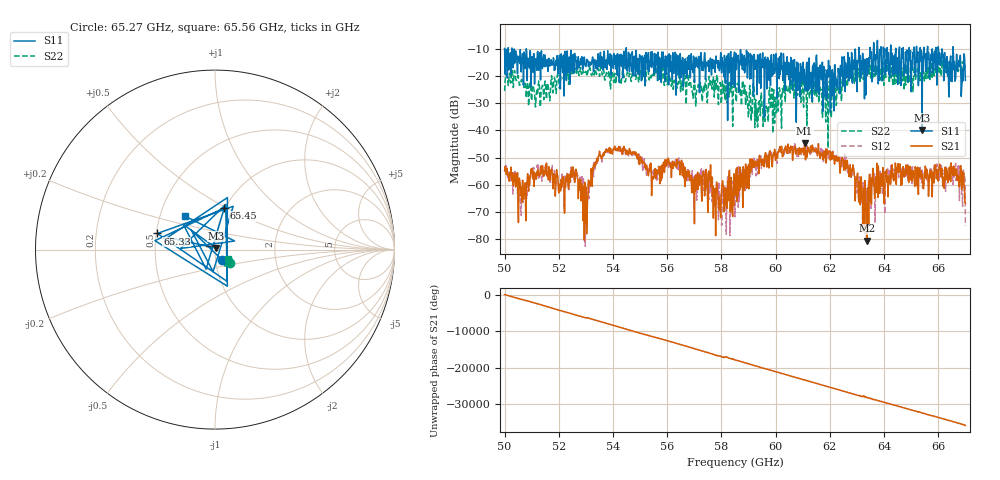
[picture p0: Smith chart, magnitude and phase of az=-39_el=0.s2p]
!Created with skrf (http://scikit-rf.org).
# GHz S RI R 50.0
!freq ReS11 ImS11 ReS21 ImS21 ReS12 ImS12 ReS22 ImS22
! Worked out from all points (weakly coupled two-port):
!   1001 points, 50 GHz to 67 GHz, reference 50 ohm
!   highest |S21| = -44.67 dB at 61.07 GHz (marker M1); lowest = -80.6 dB at 63.36 GHz (marker M2)
!   lowest |S11| = -39.8 dB at 65.4 GHz (marker M3), VSWR 1.02, Z = 50.5 + j0.883 ohm
!   |S11| at or under -10 dB: 50.27 GHz to 50.8 GHz (526 MHz wide, 1.04 % of centre); 50.8 GHz to 54.49 GHz (3.687 GHz wide, 7 % of centre); 54.49 GHz to 63.07 GHz (8.582 GHz wide, 14.6 % of centre) (the widest 3 of 29)
!   |S22| runs from -46.5 to -14.0 dB; largest |S21 - S12| = 0.0023
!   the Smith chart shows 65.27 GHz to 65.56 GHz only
!   S11 on the Smith chart (normalised r, x): 65.27 GHz: 1.07, -0.12; 65.33 GHz: 0.51, +0.10; 65.45 GHz: 0.99, +0.49; 65.56 GHz: 0.67, +0.27
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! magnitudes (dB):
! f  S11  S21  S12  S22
! 50 GHz  -9.8  -54.8  -55.3  -25.5
! 50.56 GHz  -15.4  -58.6  -64.4  -23.4
! 51.48 GHz  -14.5  -56.3  -54.5  -22.5
! 52.84 GHz  -13.2  -59.6  -58.6  -19.4
! 52.98 GHz  -16.2  -74.3  -82.6  -19.1
! 53.33 GHz  -14.2  -53.5  -54.3  -17.6
! 53.83 GHz  -12.8  -47.2  -48.2  -20.1
! 55.68 GHz  -13.6  -54.9  -53.1  -21.4
! 58.5 GHz  -24.1  -63.7  -71.9  -23.2
! 59.32 GHz  -26.8  -53.2  -50.6  -31.6
! 61.07 GHz  -19.2  -44.7  -47.0  -20.8
! 61.34 GHz  -29.3  -46.8  -47.5  -26.9
! 62.55 GHz  -14.5  -51.2  -48.4  -18.9
! 63.36 GHz  -19.9  -80.6  -61.2  -18.7
! 64.18 GHz  -19.6  -57.6  -57.2  -19.1
! 65.27 GHz  -23.5  -63.6  -58.2  -19.2
! 65.33 GHz  -9.5  -57.2  -53.5  -19.2
! 65.4 GHz  -39.8  -56.1  -54.1  -19.7
! 65.45 GHz  -12.5  -61.5  -59.8  -18.2
! 65.56 GHz  -11.9  -57.7  -57.7  -21.0
! 66.68 GHz  -12.0  -54.3  -57.3  -15.4
! 67 GHz  -21.6  -66.8  -75.1  -16.1
